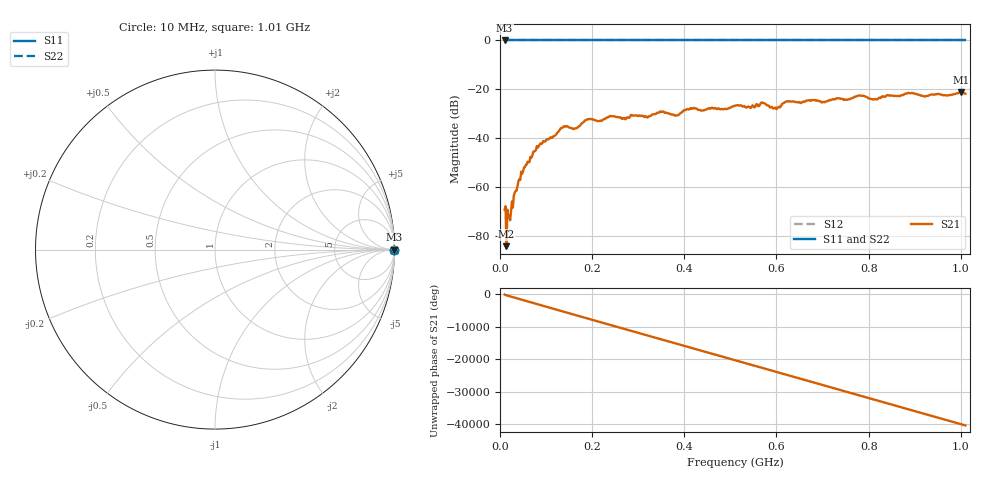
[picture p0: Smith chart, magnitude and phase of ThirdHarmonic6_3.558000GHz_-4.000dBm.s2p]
! 8/17/2025 11:45:32 AM
! C:\ANRITSUVNA\TEMP\TEMP.S2P
! CHANNEL.1
! TR.MEASUREMENT
! RAW.DATA
! RF.CORRECTION.OFF
! AVERAGING.OFF
! IF.BANDWIDTH: 5KHZ
! SWEEPTYPE:  FREQ.SWEEP(Linear)
! Reference Plane Port Info
! PORT:  PORT1  PORT2
! DISTANCE:  0  m  0  m
! TIME:  0  s  0  s
! PHASE.OFFSET:  0  deg.  0  deg.
! LOSS:  0  dB  0  dB
! REF.LOSS:  0  dB  0  dB
! REF.FREQ:  0  Hz  0  Hz
! Power Info
! POWER:  -20  dBm  -20  dBm
! EFF.POWER:  -20  dBm  -20  dBm
! SOURCE.ATTEN:  0  dB  0  dB
! TEST.ATTEN:  0  dB  0  dB
# GHZ S RI R 50.0
! FREQ.GHZ  S11RE  S11IM  S21RE  S21IM  S12RE  S12IM  S22RE  S22IM
!; PortSelection: Port_12
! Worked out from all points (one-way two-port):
!   501 points, 10 MHz to 1.01 GHz, reference 50 ohm
!   highest |S21| = -21.14 dB at 1 GHz (marker M1); lowest = -84.2 dB at 14 MHz (marker M2)
!   lowest |S11| = 0.0 dB at 10 MHz (marker M3)
!   |S11| at or under -10 dB: nowhere
!   |S22| runs from 0.0 to 0.0 dB; largest |S21 - S12| = 1.1
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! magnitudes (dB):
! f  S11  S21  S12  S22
! 10 MHz  0.0  -69.2  0.0  0.0
! 14 MHz  0.0  -84.2  0.0  0.0
! 18 MHz  0.0  -72.6  0.0  0.0
! 34 MHz  0.0  -61.5  0.0  0.0
! 50 MHz  0.0  -53.5  0.0  0.0
! 84 MHz  0.0  -43.3  0.0  0.0
! 136 MHz  0.0  -35.7  0.0  0.0
! 162 MHz  0.0  -36.0  0.0  0.0
! 178 MHz  0.0  -33.9  0.0  0.0
! 194 MHz  0.0  -32.1  0.0  0.0
! 318 MHz  0.0  -31.2  0.0  0.0
! 344 MHz  0.0  -29.5  0.0  0.0
! 384 MHz  0.0  -30.7  0.0  0.0
! 418 MHz  0.0  -28.0  0.0  0.0
! 510 MHz  0.0  -26.7  0.0  0.0
! 570 MHz  0.0  -25.6  0.0  0.0
! 598 MHz  0.0  -27.5  0.0  0.0
! 624 MHz  0.0  -24.8  0.0  0.0
! 678 MHz  0.0  -24.4  0.0  0.0
! 844 MHz  0.0  -22.5  0.0  0.0
! 1 GHz  0.0  -21.1  0.0  0.0
! 1.01 GHz  0.0  -21.8  0.0  0.0
